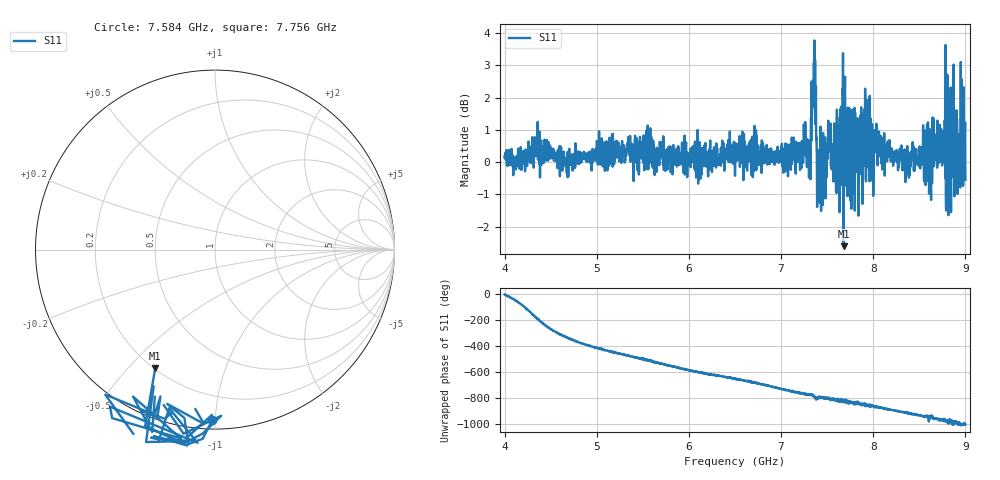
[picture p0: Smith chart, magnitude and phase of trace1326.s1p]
! Created with skrf 1.8.0 (http://scikit-rf.org).
# Hz S RI R 50.0
!freq ReS11 ImS11
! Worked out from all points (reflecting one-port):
!   1601 points, 4 GHz to 9 GHz, reference 50 ohm
!   lowest |S11| = -2.6 dB at 7.678 GHz (marker M1), VSWR 6.73, Z = 10.2 - j29.9 ohm
!   phase of S11 starts at -5 deg and turns -1003 deg over the sweep
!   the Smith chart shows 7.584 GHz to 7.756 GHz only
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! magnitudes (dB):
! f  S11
! 4 GHz  0.2
! 4.112 GHz  0.1
! 4.353 GHz  0.5
! 4.625 GHz  -0.3
! 5.25 GHz  0.3
! 5.875 GHz  0.1
! 6.5 GHz  -0.4
! 7.125 GHz  0.2
! 7.294 GHz  0.3
! 7.353 GHz  2.4
! 7.416 GHz  -0.6
! 7.512 GHz  1.3
! 7.609 GHz  -0.8
! 7.647 GHz  1.1
! 7.678 GHz  -2.6
! 7.75 GHz  -1.2
! 7.769 GHz  -0.8
! 7.928 GHz  0.8
! 7.981 GHz  -0.6
! 8.031 GHz  1.0
! 8.375 GHz  -0.1
! 8.522 GHz  0.1
! 8.616 GHz  -0.1
! 8.656 GHz  1.3
! 8.759 GHz  1.0
! 8.919 GHz  -0.3
! 8.972 GHz  0.8
! 9 GHz  -0.5
